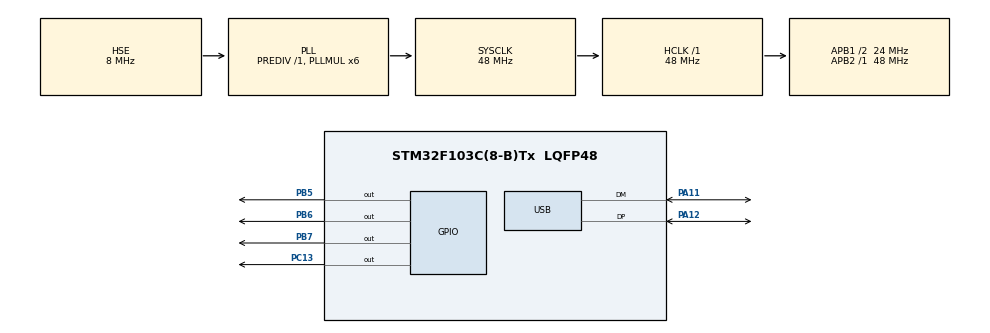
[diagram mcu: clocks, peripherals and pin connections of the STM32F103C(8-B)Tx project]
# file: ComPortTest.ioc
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Mcu.Family=STM32F1
Mcu.Name=STM32F103C(8-B)Tx
Mcu.Package=LQFP48
NVIC.PriorityGroup=NVIC_PRIORITYGROUP_4
NVIC.TIM4_IRQn=true\:0\:0\:false\:false\:true\:true\:true\:true
NVIC.USB_LP_CAN1_RX0_IRQn=true\:0\:0\:false\:false\:true\:false\:true\:true
PA11.Mode=Device
PA11.Signal=USB_DM
PA12.Mode=Device
PA12.Signal=USB_DP
PA13.Mode=Serial_Wire
PA13.Signal=SYS_JTMS-SWDIO
PA14.Mode=Serial_Wire
PA14.Signal=SYS_JTCK-SWCLK
PB5.Signal=GPIO_Output
PB6.Signal=GPIO_Output
PB7.Signal=GPIO_Output
PC13-TAMPER-RTC.Signal=GPIO_Output
PD0-OSC_IN.Mode=HSE-External-Oscillator
PD0-OSC_IN.Signal=RCC_OSC_IN
PD1-OSC_OUT.Mode=HSE-External-Oscillator
PD1-OSC_OUT.Signal=RCC_OSC_OUT
ProjectManager.HeapSize=0x200
ProjectManager.StackSize=0x400
ProjectManager.TargetToolchain=STM32CubeIDE
RCC.AHBFreq_Value=48000000
RCC.APB1CLKDivider=RCC_HCLK_DIV2
RCC.APB1Freq_Value=24000000
RCC.APB1TimFreq_Value=48000000
RCC.APB2Freq_Value=48000000
RCC.APB2TimFreq_Value=48000000
RCC.HCLKFreq_Value=48000000
RCC.PLLMUL=RCC_PLL_MUL6
RCC.SYSCLKFreq_VALUE=48000000
RCC.SYSCLKSource=RCC_SYSCLKSOURCE_PLLCLK
RCC.USBFreq_Value=48000000
TIM4.Period=999
TIM4.Prescaler=47
TIM4.TIM_MasterOutputTrigger=TIM_TRGO_RESET
USB_DEVICE.CLASS_NAME_FS=CDC
USB_DEVICE.USBD_MAX_STR_DESC_SIZ=1024
USB_DEVICE.VirtualMode=Cdc
USB_DEVICE.VirtualModeFS=Cdc_FS
VP_TIM4_VS_ClockSourceINT.Mode=Internal
VP_USB_DEVICE_VS_USB_DEVICE_CDC_FS.Mode=CDC_FS
board=custom

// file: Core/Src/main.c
/* USER CODE BEGIN Header */
/**
  ******************************************************************************
  * @file           : main.c
  * @brief          : Main program body
  ******************************************************************************
  * @attention
  *
  * Copyright (c) 2025 STMicroelectronics.
  * All rights reserved.
  *
  * This software is licensed under terms that can be found in the LICENSE file
  * in the root directory of this software component.
  * If no LICENSE file comes with this software, it is provided AS-IS.
  *
  ******************************************************************************
  */
/* USER CODE END Header */
#include "main.h"
#include "usb_device.h"

/* USER CODE BEGIN Includes */
#include "usbd_cdc_if.h"
/* USER CODE END Includes */

TIM_HandleTypeDef htim4;

/* USER CODE BEGIN PV */
int receive_flag=0;
char str_rx[21];

float toggle_count = 0;//toggle_count = 2* step_count
/* USER CODE END PV */

void SystemClock_Config(void);
static void MX_GPIO_Init(void);
static void MX_TIM4_Init(void);

int main(void)
{

  /* USER CODE BEGIN 1 */
	uint8_t str_tx[21];
	int dir, v, deg;
  /* USER CODE END 1 */

  /* MCU Configuration--------------------------------------------------------*/

  /* Reset of all peripherals, Initializes the Flash interface and the Systick. */
  HAL_Init();

  /* USER CODE BEGIN Init */
  //HAL_TIM_Base_Start(&htim4);
  /* USER CODE END Init */

  /* Configure the system clock */
  SystemClock_Config();

  /* Initialize all configured peripherals */
  MX_GPIO_Init();
  MX_USB_DEVICE_Init();
  MX_TIM4_Init();
  /* USER CODE BEGIN 2 */
//  HAL_TIM_Base_Start_IT(&htim4);
  HAL_GPIO_WritePin(GPIOB, GPIO_PIN_5, 1);//enable
  HAL_GPIO_WritePin(GPIOB, GPIO_PIN_6, 0);//direction
  HAL_GPIO_WritePin(GPIOB, GPIO_PIN_7, 0);//pulse
  /* USER CODE END 2 */

  /* Infinite loop */
  /* USER CODE BEGIN WHILE */
  while (1)
  {
	  if(receive_flag){
		  dir = (str_rx[0] - '0') * 1; //received direction
		  if(dir == 2){

		  }
		  else if(dir == 0 || dir == 1){
			  v = (str_rx[2] - '0') * 100 + (str_rx[3] - '0') * 10 + (str_rx[4] - '0'); //velocity
			  deg = (str_rx[6] - '0') * 100 + (str_rx[7] - '0') * 10 + ( str_rx[8] - '0');//degree
			  if(dir == 0){
				  HAL_GPIO_WritePin(GPIOB, GPIO_PIN_6, 0);
			  }
			  else{
				  HAL_GPIO_WritePin(GPIOB, GPIO_PIN_6, 1);
			  }
			  sprintf((char *)str_tx,"\nV=%d",v);
			  CDC_Transmit_FS(str_tx, strlen((const char *)str_tx));

			  toggle_count = deg * 200/360*2;
			  sprintf((char *)str_tx,"\nDegree=%d\n",deg);
			  CDC_Transmit_FS(str_tx, strlen((const char *)str_tx));
			  HAL_GPIO_WritePin(GPIOB, GPIO_PIN_5, 0);
			  HAL_TIM_Base_Start_IT(&htim4);
		  }
		  /*
		   * sprintf(str_tx,"\nPrivet\n");
		   * CDC_Transmit_FS((uint8_t*)str_tx, strlen(str_tx));
		   * receive_flag = 0;
		   *
		   */
		  receive_flag = 0;
	  }
	  if(toggle_count!=0){
		  HAL_GPIO_WritePin(GPIOB, GPIO_PIN_5, 0);
	  }
    /* USER CODE END WHILE */

  }
}

void SystemClock_Config(void)
{
  RCC_OscInitTypeDef RCC_OscInitStruct = {0};
  RCC_ClkInitTypeDef RCC_ClkInitStruct = {0};
  RCC_PeriphCLKInitTypeDef PeriphClkInit = {0};

  /** Initializes the RCC Oscillators according to the specified parameters
  * in the RCC_OscInitTypeDef structure.
  */
  RCC_OscInitStruct.OscillatorType = RCC_OSCILLATORTYPE_HSE;
  RCC_OscInitStruct.HSEState = RCC_HSE_ON;
  RCC_OscInitStruct.HSEPredivValue = RCC_HSE_PREDIV_DIV1;
  RCC_OscInitStruct.HSIState = RCC_HSI_ON;
  RCC_OscInitStruct.PLL.PLLState = RCC_PLL_ON;
  RCC_OscInitStruct.PLL.PLLSource = RCC_PLLSOURCE_HSE;
  RCC_OscInitStruct.PLL.PLLMUL = RCC_PLL_MUL6;
  if (HAL_RCC_OscConfig(&RCC_OscInitStruct) != HAL_OK)
  {
    Error_Handler();
  }

  /** Initializes the CPU, AHB and APB buses clocks
  */
  RCC_ClkInitStruct.ClockType = RCC_CLOCKTYPE_HCLK|RCC_CLOCKTYPE_SYSCLK
                              |RCC_CLOCKTYPE_PCLK1|RCC_CLOCKTYPE_PCLK2;
  RCC_ClkInitStruct.SYSCLKSource = RCC_SYSCLKSOURCE_PLLCLK;
  RCC_ClkInitStruct.AHBCLKDivider = RCC_SYSCLK_DIV1;
  RCC_ClkInitStruct.APB1CLKDivider = RCC_HCLK_DIV2;
  RCC_ClkInitStruct.APB2CLKDivider = RCC_HCLK_DIV1;

  if (HAL_RCC_ClockConfig(&RCC_ClkInitStruct, FLASH_LATENCY_1) != HAL_OK)
  {
    Error_Handler();
  }
  PeriphClkInit.PeriphClockSelection = RCC_PERIPHCLK_USB;
  PeriphClkInit.UsbClockSelection = RCC_USBCLKSOURCE_PLL;
  if (HAL_RCCEx_PeriphCLKConfig(&PeriphClkInit) != HAL_OK)
  {
    Error_Handler();
  }
}

static void MX_TIM4_Init(void)
{

  TIM_ClockConfigTypeDef sClockSourceConfig = {0};
  TIM_MasterConfigTypeDef sMasterConfig = {0};

  htim4.Instance = TIM4;
  htim4.Init.Prescaler = 599;
  htim4.Init.CounterMode = TIM_COUNTERMODE_UP;
  htim4.Init.Period = 4999;
  htim4.Init.ClockDivision = TIM_CLOCKDIVISION_DIV1;
  htim4.Init.AutoReloadPreload = TIM_AUTORELOAD_PRELOAD_DISABLE;
  if (HAL_TIM_Base_Init(&htim4) != HAL_OK)
  {
    Error_Handler();
  }
  sClockSourceConfig.ClockSource = TIM_CLOCKSOURCE_INTERNAL;
  if (HAL_TIM_ConfigClockSource(&htim4, &sClockSourceConfig) != HAL_OK)
  {
    Error_Handler();
  }
  sMasterConfig.MasterOutputTrigger = TIM_TRGO_RESET;
  sMasterConfig.MasterSlaveMode = TIM_MASTERSLAVEMODE_DISABLE;
  if (HAL_TIMEx_MasterConfigSynchronization(&htim4, &sMasterConfig) != HAL_OK)
  {
    Error_Handler();
  }

}

static void MX_GPIO_Init(void)
{
  GPIO_InitTypeDef GPIO_InitStruct = {0};

  /* GPIO Ports Clock Enable */
  __HAL_RCC_GPIOC_CLK_ENABLE();
  __HAL_RCC_GPIOD_CLK_ENABLE();
  __HAL_RCC_GPIOA_CLK_ENABLE();
  __HAL_RCC_GPIOB_CLK_ENABLE();

  /*Configure GPIO pin Output Level */
  HAL_GPIO_WritePin(GPIOC, GPIO_PIN_13, GPIO_PIN_RESET);

  /*Configure GPIO pin Output Level */
  HAL_GPIO_WritePin(GPIOB, GPIO_PIN_5|GPIO_PIN_6|GPIO_PIN_7, GPIO_PIN_RESET);

  /*Configure GPIO pin : PC13 */
  GPIO_InitStruct.Pin = GPIO_PIN_13;
  GPIO_InitStruct.Mode = GPIO_MODE_OUTPUT_PP;
  GPIO_InitStruct.Pull = GPIO_NOPULL;
  GPIO_InitStruct.Speed = GPIO_SPEED_FREQ_LOW;
  HAL_GPIO_Init(GPIOC, &GPIO_InitStruct);

  /*Configure GPIO pins : PB5 PB6 PB7 */
  GPIO_InitStruct.Pin = GPIO_PIN_5|GPIO_PIN_6|GPIO_PIN_7;
  GPIO_InitStruct.Mode = GPIO_MODE_OUTPUT_PP;
  GPIO_InitStruct.Pull = GPIO_NOPULL;
  GPIO_InitStruct.Speed = GPIO_SPEED_FREQ_LOW;
  HAL_GPIO_Init(GPIOB, &GPIO_InitStruct);

}

void Error_Handler(void)
{
  __disable_irq();
  while (1)
  {
  }
}
